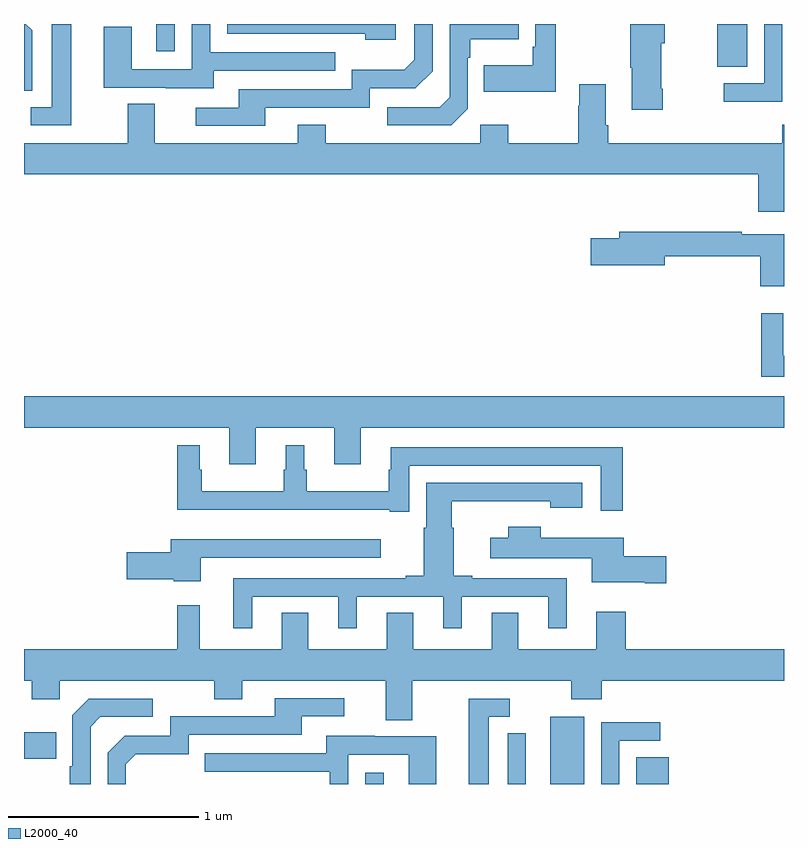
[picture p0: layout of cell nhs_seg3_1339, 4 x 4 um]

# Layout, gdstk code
import gdstk
lib = gdstk.Library(unit=1e-6, precision=1e-09)
def R(c, l, rs):  # rectangles x0, y0, x1, y1
    for r in rs: c.add(gdstk.rectangle(r[:2], r[2:], *l))
def P(c, l, *ps):  # polygons
    for p in ps: c.add(gdstk.Polygon(p, *l))
L2000_40 = (2000, 40)

nhs_seg3_1339 = lib.new_cell('nhs_seg3_1339')
R(nhs_seg3_1339, L2000_40, [(182.796,672.4,182.893,672.46), (183.77,672.4,183.949,672.754), (184.223,672.4,184.394,672.542), (181,672.533,181.169,672.673), (184.649,676.174,184.807,676.4), (181.697,676.257,181.794,676.4)])
P(nhs_seg3_1339, L2000_40, [(183.336,675.954),(183.336,676.223),(183.349,676.223),(183.349,676.319),(183.605,676.319),(183.605,676.4),(183.24,676.4),(183.24,676.014),(183.189,675.963),(182.913,675.963),(182.913,675.867),(183.249,675.867)],
  [(181.999,676.155),(182.639,676.155),(182.639,676.251),(181.98,676.251),(181.98,676.4),(181.884,676.4),(181.884,676.161),(181.566,676.161),(181.566,676.385),(181.421,676.385),(181.421,676.065),(181.745,676.065),(181.745,676.061),(181.999,676.061)],
  [(183.799,676.4),(183.69,676.4),(183.69,676.279),(183.678,676.279),(183.678,676.183),(183.421,676.183),(183.421,676.043),(183.799,676.043)],
  [(181.249,676.4),(181.145,676.4),(181.145,675.963),(181.035,675.963),(181.035,675.867),(181.249,675.867)],
  [(184.362,676.06),(184.354,676.06),(184.354,676.299),(184.372,676.299),(184.372,676.4),(184.199,676.4),(184.199,676.399),(184.192,676.399),(184.192,676.171),(184.199,676.171),(184.199,675.948),(184.362,675.948)],
  [(182.269,675.96),(182.82,675.96),(182.82,676.062),(183.06,676.062),(183.15,676.152),(183.15,676.4),(183.054,676.4),(183.054,676.212),(183.001,676.159),(182.724,676.159),(182.724,676.056),(182.129,676.056),(182.129,675.96),(181.905,675.96),(181.905,675.864),(182.269,675.864)],
  [(181.044,676.366),(181.01,676.4),(181,676.4),(181,676.048),(181.044,676.048)],
  [(182.956,676.4),(182.07,676.4),(182.07,676.35),(182.795,676.35),(182.795,676.316),(182.956,676.316)],
  [(184.992,676.4),(184.896,676.4),(184.896,676.089),(184.683,676.089),(184.683,675.991),(184.992,675.991)],
  [(185,675.871),(184.991,675.871),(184.991,675.772),(184.076,675.772),(184.076,675.868),(184.063,675.868),(184.063,676.084),(183.923,676.084),(183.923,675.971),(183.916,675.971),(183.916,675.772),(183.549,675.772),(183.549,675.871),(183.402,675.871),(183.402,675.772),(182.589,675.772),(182.589,675.871),(182.441,675.871),(182.441,675.772),(181.687,675.772),(181.687,675.98),(181.547,675.98),(181.547,675.772),(181,675.772),(181,675.608),(184.865,675.608),(184.865,675.411),(185,675.411)],
  [(185,675.294),(184.778,675.294),(184.778,675.307),(184.133,675.307),(184.133,675.273),(183.984,675.273),(183.984,675.131),(184.372,675.131),(184.372,675.178),(184.874,675.178),(184.874,675.02),(185,675.02)],
  [(185,674.653),(184.996,674.653),(184.996,674.878),(184.879,674.878),(184.879,674.544),(185,674.544)],
  [(182.221,674.276),(182.633,674.276),(182.633,674.082),(182.773,674.082),(182.773,674.276),(185,674.276),(185,674.44),(181,674.44),(181,674.276),(182.081,674.276),(182.081,674.082),(182.221,674.082)],
  [(183.027,674.076),(184.035,674.076),(184.035,673.839),(184.151,673.839),(184.151,674.172),(182.93,674.172),(182.93,674.054),(182.919,674.054),(182.919,673.942),(182.488,673.942),(182.488,674.054),(182.476,674.054),(182.476,674.182),(182.378,674.182),(182.378,674.054),(182.367,674.054),(182.367,673.942),(181.936,673.942),(181.936,674.054),(181.924,674.054),(181.924,674.182),(181.807,674.182),(181.807,673.844),(182.924,673.844),(182.924,673.833),(183.027,673.833)],
  [(182.2,673.386),(182.654,673.386),(182.654,673.221),(182.752,673.221),(182.752,673.386),(183.206,673.386),(183.206,673.221),(183.304,673.221),(183.304,673.386),(183.758,673.386),(183.758,673.221),(183.856,673.221),(183.856,673.482),(183.358,673.482),(183.358,673.495),(183.262,673.495),(183.262,673.749),(183.25,673.749),(183.25,673.889),(183.77,673.889),(183.77,673.853),(183.937,673.853),(183.937,673.986),(183.116,673.986),(183.116,673.749),(183.104,673.749),(183.104,673.495),(183.008,673.495),(183.008,673.482),(182.102,673.482),(182.102,673.221),(182.2,673.221)],
  [(184.381,673.598),(184.156,673.598),(184.156,673.696),(183.719,673.696),(183.719,673.753),(183.548,673.753),(183.548,673.696),(183.453,673.696),(183.453,673.589),(183.989,673.589),(183.989,673.463),(184.268,673.463),(184.268,673.456),(184.381,673.456)],
  [(181.93,673.59),(182.878,673.59),(182.878,673.687),(181.772,673.687),(181.772,673.619),(181.542,673.619),(181.542,673.477),(181.788,673.477),(181.788,673.466),(181.93,673.466)],
  [(183.043,672.944),(183.88,672.944),(183.88,672.845),(184.04,672.845),(184.04,672.944),(185,672.944),(185,673.108),(184.166,673.108),(184.166,673.306),(184.013,673.306),(184.013,673.108),(183.601,673.108),(183.601,673.301),(183.461,673.301),(183.461,673.108),(183.049,673.108),(183.049,673.301),(182.909,673.301),(182.909,673.108),(182.497,673.108),(182.497,673.301),(182.357,673.301),(182.357,673.108),(181.925,673.108),(181.925,673.342),(181.807,673.342),(181.807,673.108),(181,673.108),(181,672.944),(181.042,672.944),(181.042,672.845),(181.188,672.845),(181.188,672.944),(182.002,672.944),(182.002,672.845),(182.149,672.845),(182.149,672.944),(182.903,672.944),(182.903,672.736),(183.043,672.736)],
  [(181.536,672.504),(181.589,672.557),(181.866,672.557),(181.866,672.66),(182.461,672.66),(182.461,672.756),(182.686,672.756),(182.686,672.852),(182.321,672.852),(182.321,672.756),(181.77,672.756),(181.77,672.654),(181.53,672.654),(181.44,672.564),(181.44,672.4),(181.536,672.4)],
  [(181.35,672.702),(181.401,672.753),(181.678,672.753),(181.678,672.849),(181.341,672.849),(181.254,672.762),(181.254,672.493),(181.242,672.493),(181.242,672.4),(181.35,672.4)],
  [(183.445,672.753),(183.556,672.753),(183.556,672.849),(183.341,672.849),(183.341,672.4),(183.445,672.4)],
  [(184.134,672.627),(184.348,672.627),(184.348,672.726),(184.038,672.726),(184.038,672.4),(184.134,672.4)],
  [(183.641,672.514),(183.642,672.514),(183.642,672.668),(183.546,672.668),(183.546,672.4),(183.641,672.4)],
  [(182.706,672.555),(183.024,672.555),(183.024,672.4),(183.169,672.4),(183.169,672.651),(182.845,672.651),(182.845,672.655),(182.591,672.655),(182.591,672.561),(181.951,672.561),(181.951,672.465),(182.61,672.465),(182.61,672.4),(182.706,672.4)])

lib.write_gds('nhs_seg3_1339.gds')
